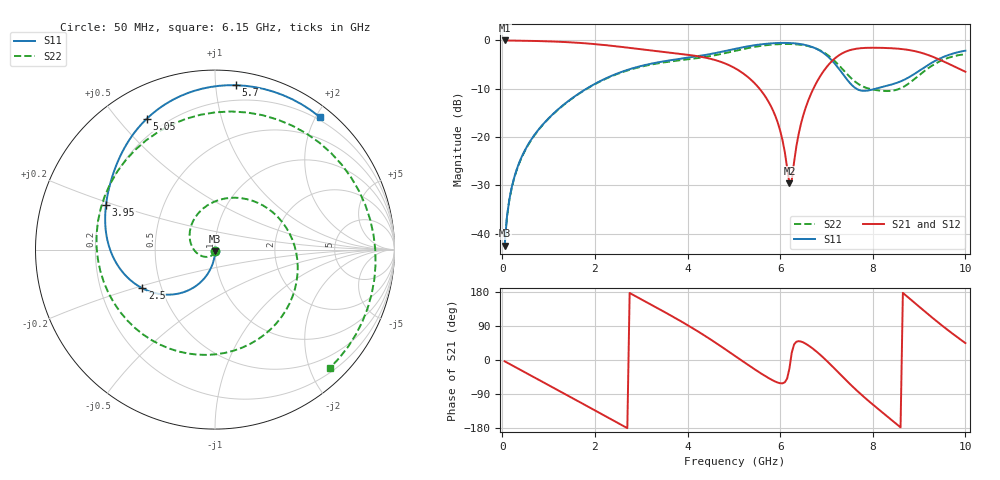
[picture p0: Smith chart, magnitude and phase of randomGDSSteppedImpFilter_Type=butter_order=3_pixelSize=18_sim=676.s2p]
! freq	dB(S11)	phase(S11)	dB(S12)	phase(S12)
!  dB(S21)	phase(S21)	dB(S22)	phase(S22)
!S-par simulation data
#  GHz  S  DB  R 50
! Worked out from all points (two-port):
!   200 points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, 50 MHz to 10 GHz, reference 50 ohm
!   highest |S21| = -0.01 dB at 50 MHz (marker M1); lowest = -29.5 dB at 6.2 GHz (marker M2)
!   |S21| within 3 dB of the highest: start of sweep to 4.036 GHz; 7.282 GHz to 9.193 GHz (1.911 GHz wide, 23.2 % of centre)
!   lowest |S11| = -42.5 dB at 50 MHz (marker M3), VSWR 1.02, Z = 50 - j0.752 ohm
!   |S11| at or under -10 dB: start of sweep to 1.816 GHz; 7.647 GHz to 8.057 GHz (409.4 MHz wide, 5.21 % of centre)
!   |S22| runs from -42.6 to -0.7 dB; largest |S21 - S12| = 0
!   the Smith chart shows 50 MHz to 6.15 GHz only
!   S11 on the Smith chart (normalised r, x): 50 MHz: 1.00, -0.02; 2.5 GHz: 0.39, -0.21; 3.95 GHz: 0.22, +0.19; 5.05 GHz: 0.13, +0.60; 5.7 GHz: 0.09, +1.13; 6.15 GHz: 0.16, +2.05
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0.05  -42.48 -88.9  -0.01 -3.3  -0.01 -3.3  -42.56 -94.0
0.2  -30.54 -92.8  -0.03 -13.2  -0.03 -13.2  -30.64 -112.7
0.45  -23.45 -97.9  -0.06 -29.7  -0.06 -29.7  -23.56 -142.2
1.1  -15.18 -110.8  -0.23 -72.7  -0.23 -72.7  -15.23 143.9
1.75  -10.39 -127.5  -0.57 -116.3  -0.57 -116.3  -10.44 73.5
2.5  -6.78 -151.9  -1.26 -166.6  -1.26 -166.6  -6.88 -2.2
3.4  -4.47 176.2  -2.28 133.6  -2.28 133.6  -4.68 -89.3
3.95  -3.66 157.6  -2.90 95.6  -2.90 95.6  -3.98 -146.7
4.5  -2.81 139.3  -3.81 54.1  -3.81 54.1  -3.23 147.8
5.05  -1.70 117.5  -5.88 8.7  -5.88 8.7  -2.11 76.9
5.7  -0.69 82.6  -11.91 -44.0  -11.91 -44.0  -0.98 -0.0
6.15  -0.52 51.8  -26.26 -49.3  -26.26 -49.3  -0.73 -46.0
6.2  -0.54 47.9  -29.52 -22.7  -29.52 -22.7  -0.74 -50.9
6.7  -1.39 0.8  -10.33 30.6  -10.33 30.6  -1.42 -99.5
7.05  -3.50 -45.6  -4.98 -7.4  -4.98 -7.4  -3.20 -133.6
7.3  -6.26 -88.3  -2.89 -38.2  -2.89 -38.2  -5.46 -154.6
7.8  -10.43 165.7  -1.57 -96.5  -1.57 -96.5  -9.59 -179.4
8.35  -9.26 98.4  -1.59 -152.6  -1.59 -152.6  -10.46 128.8
8.8  -7.52 77.5  -2.01 161.7  -2.01 161.7  -8.74 54.1
9.25  -4.75 56.7  -3.21 115.2  -3.21 115.2  -5.40 -15.0
9.65  -2.96 32.9  -4.89 76.3  -4.89 76.3  -3.54 -64.6
10  -2.12 11.8  -6.48 44.7  -6.48 44.7  -2.84 -103.4
